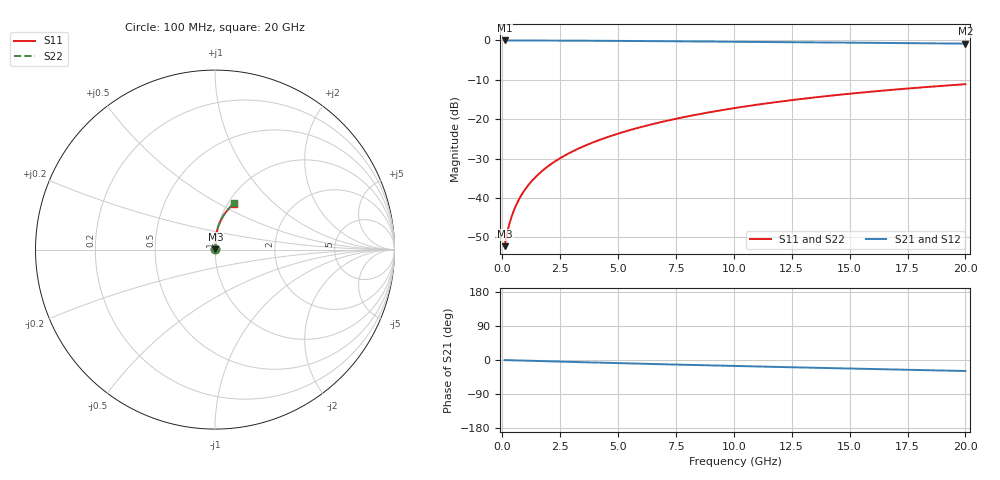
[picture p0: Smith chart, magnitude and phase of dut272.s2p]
! Touchstone file exported from HFSS 2024.1.0
!  File:  C:/UserFiles/LocalFiles/RDL_TSV_Batchsim/temp_RDL_bottom_272_1778702600.aedt
!  Generated:  04:05:38 AM May 14, 2026
!  Design:  RDL_bottom
!  Project:  temp_RDL_bottom_272_1778702600
!  Setup:  Setup1
!  Solution:  Sweep
! Variables:
!  dtsv = 10.80580581um
!  hbump = 3um
!  htsv = 83.62um
!  ldown = 402.61um
!  lrdl = 100um
!  p = 40
!  p1 = 46.71um
!  rhole = 1um
!  t = 450um
!  tdown = 3.67um
!  trdl = 3.915915916um
!  wdown = 21.54um
!  wrdl = 20um
# GHz S MA R 50.000000
! Terminal data exported
! Port[1] = RDL1_T1
! Port[2] = RDL1_T2
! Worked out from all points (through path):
!   200 points, 100 MHz to 20 GHz, reference 50 ohm
!   highest |S21| = -0.02 dB at 100 MHz (marker M1); lowest = -0.8 dB at 20 GHz (marker M2)
!   group delay of S21, straight-line fit = 4 ps
!   lowest |S11| = -52.2 dB at 100 MHz (marker M3), VSWR 1.00, Z = 50.2 + j0.141 ohm
!   |S11| at or under -10 dB: start of sweep to end of sweep
!   |S22| runs from -52.2 to -11.1 dB; largest |S21 - S12| = 2.7e-15
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0.1  0.002448 35.1  0.998 -0.2  0.998 -0.2  0.002448 35.1
! Gamma 0 0 0 0
! Port Impedance 50 0 50 0
0.2  0.003467 52.7  0.9979 -0.4  0.9979 -0.4  0.003467 52.7
0.3  0.004613 61.5  0.9977 -0.5  0.9977 -0.5  0.004613 61.5
0.4  0.005784 66.7  0.9976 -0.7  0.9976 -0.7  0.005784 66.7
0.5  0.006966 70.3  0.9975 -0.9  0.9975 -0.9  0.006966 70.3
0.6  0.008158 72.9  0.9974 -1.0  0.9974 -1.0  0.008158 72.9
0.8  0.01057 76.6  0.9972 -1.4  0.9972 -1.4  0.01057 76.6
1.1  0.01426 79.8  0.9968 -1.9  0.9968 -1.9  0.01426 79.8
1.3  0.01674 81.2  0.9965 -2.2  0.9965 -2.2  0.01674 81.3
1.6  0.02051 82.7  0.996 -2.7  0.996 -2.7  0.02051 82.7
2.1  0.02686 84.2  0.995 -3.6  0.995 -3.6  0.02686 84.3
2.7  0.03461 85.2  0.9935 -4.6  0.9935 -4.6  0.03462 85.2
3.5  0.04516 85.8  0.991 -5.9  0.991 -5.9  0.04516 85.9
4.2  0.05459 86.0  0.9885 -7.0  0.9885 -7.0  0.0546 86.0
5  0.06558 85.8  0.9853 -8.3  0.9853 -8.3  0.0656 85.9
5.9  0.07822 85.4  0.9813 -9.7  0.9813 -9.7  0.07824 85.4
6.8  0.0911 84.8  0.9771 -11.0  0.9771 -11.0  0.09113 84.8
8.4  0.1144 83.2  0.9693 -13.4  0.9693 -13.4  0.1144 83.2
10.1  0.1394 81.2  0.9608 -15.8  0.9608 -15.8  0.1395 81.2
13.4  0.1877 76.7  0.9441 -20.4  0.9441 -20.4  0.1878 76.8
16.7  0.2342 72.1  0.9271 -24.8  0.9271 -24.8  0.2343 72.1
20  0.2779 67.5  0.9098 -29.0  0.9098 -29.0  0.2781 67.5
